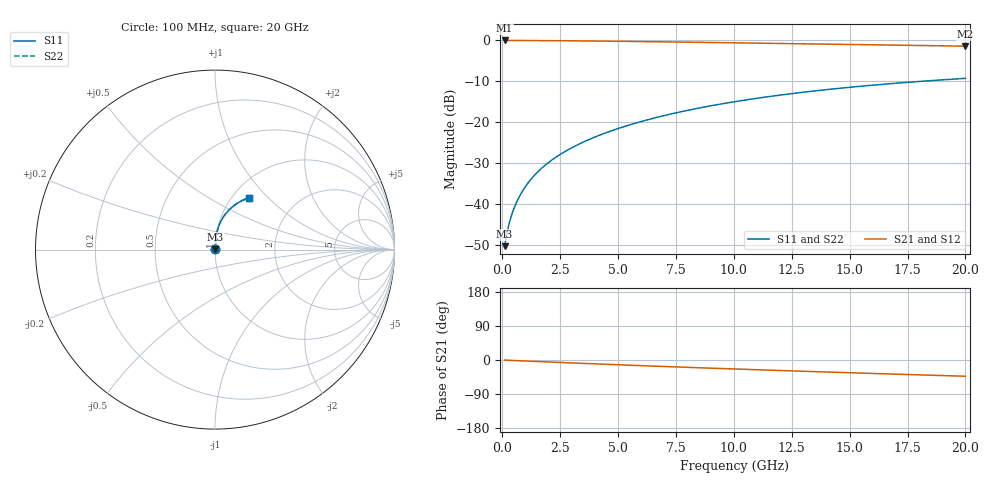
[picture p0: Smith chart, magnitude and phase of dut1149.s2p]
! Touchstone file exported from HFSS 2024.1.0
!  File:  C:/UserFiles/LocalFiles/RDL_TSV_Batchsim/temp_RDL_bottom_1149_1780055968.aedt
!  Generated:  08:01:42 PM May 29, 2026
!  Design:  RDL_bottom
!  Project:  temp_RDL_bottom_1149_1780055968
!  Setup:  Setup1
!  Solution:  Sweep
! Variables:
!  dtsv = 10.80580581um
!  hbump = 3um
!  htsv = 82.51um
!  ldown = 640.4um
!  lrdl = 100um
!  p = 40
!  p1 = 47.69um
!  rhole = 1um
!  t = 450um
!  tdown = 4.22um
!  trdl = 3.915915916um
!  wdown = 23.35um
!  wrdl = 20um
# GHz S MA R 50.000000
! Terminal data exported
! Port[1] = RDL1_T1
! Port[2] = RDL1_T2
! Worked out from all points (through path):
!   200 points, 100 MHz to 20 GHz, reference 50 ohm
!   highest |S21| = -0.02 dB at 100 MHz (marker M1); lowest = -1.4 dB at 20 GHz (marker M2)
!   group delay of S21, straight-line fit = 5.89 ps
!   lowest |S11| = -50.2 dB at 100 MHz (marker M3), VSWR 1.01, Z = 50.3 + j0.184 ohm
!   |S11| at or under -10 dB: start of sweep to 18.05 GHz
!   |S22| runs from -50.2 to -9.3 dB; largest |S21 - S12| = 2.8e-15
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0.1  0.003097 36.2  0.9975 -0.3  0.9975 -0.3  0.003097 36.2
! Gamma 0 0 0 0
! Port Impedance 50 0 50 0
0.2  0.004447 53.2  0.9973 -0.5  0.9973 -0.5  0.004447 53.2
0.3  0.005919 61.5  0.9971 -0.8  0.9971 -0.8  0.005919 61.5
0.4  0.007402 66.5  0.9969 -1.1  0.9969 -1.1  0.007402 66.5
0.5  0.008892 69.9  0.9967 -1.3  0.9967 -1.3  0.008891 69.9
0.6  0.01039 72.5  0.9965 -1.6  0.9965 -1.6  0.01039 72.5
0.8  0.01343 76.1  0.9962 -2.1  0.9962 -2.1  0.01343 76.1
1.1  0.01809 79.4  0.9955 -2.9  0.9955 -2.9  0.01809 79.4
1.3  0.02123 80.8  0.995 -3.4  0.995 -3.4  0.02123 80.8
1.6  0.02601 82.2  0.9941 -4.2  0.9941 -4.2  0.02601 82.2
2.1  0.03411 83.6  0.9923 -5.5  0.9923 -5.5  0.03411 83.7
2.7  0.04403 84.5  0.9896 -7.0  0.9896 -7.0  0.04403 84.5
3.5  0.05761 84.9  0.9851 -9.0  0.9851 -9.0  0.05762 84.9
4.2  0.06983 84.7  0.9806 -10.7  0.9806 -10.7  0.06985 84.8
5  0.08415 84.2  0.975 -12.6  0.975 -12.6  0.08419 84.2
6.8  0.1175 82.1  0.9609 -16.7  0.9609 -16.7  0.1176 82.2
8.4  0.1478 79.5  0.9475 -20.3  0.9475 -20.3  0.148 79.6
10.1  0.1801 76.4  0.9331 -23.9  0.9331 -23.9  0.1802 76.4
11.7  0.2098 73.2  0.9195 -27.1  0.9195 -27.1  0.21 73.3
13.4  0.2404 69.8  0.905 -30.5  0.905 -30.5  0.2406 69.8
16.7  0.2955 63.1  0.8772 -36.8  0.8772 -36.8  0.2958 63.2
20  0.3442 56.8  0.85 -42.8  0.85 -42.8  0.3446 56.8
